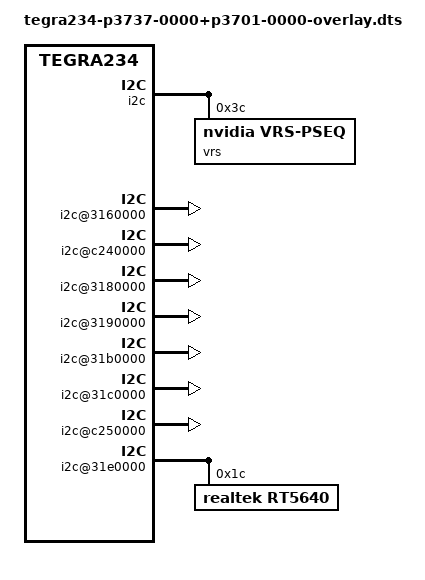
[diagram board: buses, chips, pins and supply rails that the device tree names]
// SPDX-License-Identifier: GPL-2.0
// Copyright (c) 2022, NVIDIA CORPORATION & AFFILIATES.  All rights reserved.


/dts-v1/;
/plugin/;

#include "tegra234-soc-overlay.dtsi"
#include "tegra234-p3737-0000-overlay.dtsi"
#include "tegra234-p3701-0000-overlay.dtsi"
#include "tegra234-audio-dai-links-overlay.dtsi"

#include "tegra234-dcb-p3737-0000-p3701-0000.dtsi"

/ {
	fragment-t234-p3737-p3701@0 {
		target-path = "/bpmp/i2c";
		__overlay__ {
			vrs@3c {
				compatible = "nvidia,vrs-pseq";
				reg = <0x3c>;
				interrupts = <GIC_SPI 209 IRQ_TYPE_LEVEL_HIGH>;
				interrupt-controller;
				#interrupt-cells = <3>;
				status = "okay";
				vrs_rtc: rtc {
					status = "okay";
				};
			};
		};
	};

	fragment-t234-p3737-p3701@1 {
		target-path = "/bus@0/i2c@3160000";
		__overlay__ {
			status = "okay";
		};
	};

	fragment-t234-p3737-p3701@2 {
		target-path = "/bus@0/i2c@c240000";
		__overlay__ {
			status = "okay";
		};
	};

	fragment-t234-p3737-p3701@3 {
		target-path = "/bus@0/i2c@3180000";
		__overlay__ {
			status = "okay";
		};
	};

	fragment-t234-p3737-p3701@4 {
		target-path = "/bus@0/i2c@3190000";
		__overlay__ {
			status = "okay";
		};
	};

	fragment-t234-p3737-p3701@5 {
		target-path = "/bus@0/i2c@31b0000";
		__overlay__ {
			nvidia,hw-instance-id = <0x5>;
			status = "okay";
		};
	};

	fragment-t234-p3737-p3701@6 {
		target-path = "/bus@0/i2c@31c0000";
		__overlay__ {
			status = "okay";
		};
	};

	fragment-t234-p3737-p3701@7 {
		target-path = "/bus@0/i2c@c250000";
		__overlay__ {
			status = "okay";
		};
	};

	fragment-t234-p3737-p3701@8 {
		target-path = "/bus@0/i2c@31e0000";
		__overlay__ {
			status = "okay";

			#address-cells = <1>;
			#size-cells = <0>;

			rt5640: rt5640.8-001c@1c {
				compatible = "realtek,rt5640";
				reg = <0x1c>;

				clocks = <&bpmp TEGRA234_CLK_AUD_MCLK>;
				clock-names = "mclk";

				realtek,dmic1-data-pin = <0>; /* RT5659_DMIC1_NULL */
				realtek,dmic2-data-pin = <0>; /* RT5659_DMIC2_NULL */
				realtek,jack-detect-source = <7>;

				#sound-dai-cells = <1>;
				sound-name-prefix = "CVB-RT";

				status = "okay";
			};
		};
	};

	fragment-t234-p3737-p3701@9 {
		target-path = "/";
		__overlay__ {
			sound {
				compatible = "nvidia,tegra186-ape";
				clocks = <&bpmp TEGRA234_CLK_PLLA>,
					 <&bpmp TEGRA234_CLK_PLLA_OUT0>,
					 <&bpmp TEGRA234_CLK_AUD_MCLK>;
				clock-names = "pll_a", "pll_a_out0", "extern1";
				assigned-clocks = <&bpmp TEGRA234_CLK_AUD_MCLK>;
				assigned-clock-parents = <&bpmp TEGRA234_CLK_PLLA_OUT0>;

				nvidia-audio-card,name = "NVIDIA Jetson AGX Orin APE";

				nvidia-audio-card,widgets =
					"Headphone",	"CVB-RT Headphone Jack",
					"Microphone",	"CVB-RT Mic Jack",
					"Speaker",	"CVB-RT Int Spk",
					"Microphone",	"CVB-RT Int Mic";

				nvidia-audio-card,routing =
					"CVB-RT Headphone Jack",     "CVB-RT HPOL",
					"CVB-RT Headphone Jack",     "CVB-RT HPOR",
					"CVB-RT IN1P",		     "CVB-RT Mic Jack",
					"CVB-RT IN2P",		     "CVB-RT Mic Jack",
					"CVB-RT Int Spk",	     "CVB-RT SPOLP",
					"CVB-RT Int Spk",	     "CVB-RT SPORP",
					"CVB-RT DMIC1",		     "CVB-RT Int Mic",
					"CVB-RT DMIC2",		     "CVB-RT Int Mic";

				nvidia-audio-card,mclk-fs = <256>;

				nvidia-audio-card,dai-link@76 {
					link-name = "rt5640-playback";
					codec {
						sound-dai = <&rt5640 0>;
						prefix = "CVB-RT";
					};
				};
			};

			reserved-memory {
				#address-cells = <2>;
				#size-cells = <2>;
				ranges;

				linux,cma { /* Needed for nvgpu comptags */
					compatible = "shared-dma-pool";
					reusable;
					size = <0x0 0x10000000>; /* 256MB */
					alignment = <0x0 0x10000>;
					linux,cma-default;
					status = "okay";
				};
			};
		};
	};

	fragment-t234-p3737-p3701@10 {
		target-path = "/cpus";
		__overlay__ {
			cpu_core_power_states {
				C1: c1 {
					compatible = "arm,idle-state";
					state-name = "Clock gated";
					wakeup-latency-us = <1>;
					min-residency-us = <1>;
					status = "okay";
				};

				C7: c7 {
					compatible = "arm,idle-state";
					state-name = "Core powergate";
					wakeup-latency-us = <5000>;
					arm,psci-suspend-param= <0x40000007>;
					min-residency-us = <30000>;
					status = "okay";
				};
			};
		};
	};

	fragment-t234-p3737-p3701@11 {
		target-path = "/cpus/cpu@0";
		__overlay__ {
			cpu-idle-states = <&C7>;
		};
	};

	fragment-t234-p3737-p3701@12 {
		target-path = "/cpus/cpu@100";
		__overlay__ {
			cpu-idle-states = <&C7>;
		};
	};

	fragment-t234-p3737-p3701@13 {
		target-path = "/cpus/cpu@200";
		__overlay__ {
			cpu-idle-states = <&C7>;
		};
	};

	fragment-t234-p3737-p3701@14 {
		target-path = "/cpus/cpu@300";
		__overlay__ {
			cpu-idle-states = <&C7>;
		};
	};

	fragment-t234-p3737-p3701@15 {
		target-path = "/cpus/cpu@10000";
		__overlay__ {
			cpu-idle-states = <&C7>;
		};
	};

	fragment-t234-p3737-p3701@16 {
		target-path = "/cpus/cpu@10100";
		__overlay__ {
			cpu-idle-states = <&C7>;
		};
	};

	fragment-t234-p3737-p3701@17 {
		target-path = "/cpus/cpu@10200";
		__overlay__ {
			cpu-idle-states = <&C7>;
		};
	};

	fragment-t234-p3737-p3701@18 {
		target-path = "/cpus/cpu@10300";
		__overlay__ {
			cpu-idle-states = <&C7>;
		};
	};

	fragment-t234-p3737-p3701@19 {
		target-path = "/cpus/cpu@20000";
		__overlay__ {
			cpu-idle-states = <&C7>;
		};
	};

	fragment-t234-p3737-p3701@20 {
		target-path = "/cpus/cpu@20100";
		__overlay__ {
			cpu-idle-states = <&C7>;
		};
	};

	fragment-t234-p3737-p3701@21 {
		target-path = "/cpus/cpu@20200";
		__overlay__ {
			cpu-idle-states = <&C7>;
		};
	};

	fragment-t234-p3737-p3701@22 {
		target-path = "/cpus/cpu@20300";
		__overlay__ {
			cpu-idle-states = <&C7>;
		};
	};
};
